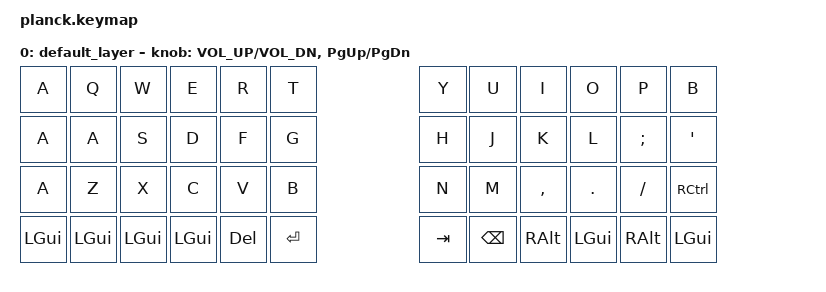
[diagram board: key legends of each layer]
#include <behaviors.dtsi>
#include <dt-bindings/zmk/keys.h>
#include <dt-bindings/zmk/bt.h>
#include <dt-bindings/zmk/ext_power.h>
#include <dt-bindings/zmk/rgb.h>


// / {
//     chosen {
//         zmk,physical-layout = &matrix_physical_layout;
//     };
// };
/ {

	keymap {
		compatible = "zmk,keymap";

		default_layer {
			// --------------------------------------------------------------------------------------------------------------------------------------------------------------------
			// |   ESC   |    Q    |    W    |    E    |    R    |    T    |                                          |    Y    |    U    |    I    |    O    |    P    |    \    |
			// |   TAB   |    A    |    S    |    D    |    F    |    G    |                                          |    H    |    J    |    K    |    L    |    ;    |    '    |
			// |  SHIFT  |    Z    |    X    |    C    |    V    |    B    | CTRL+A  | CTRL+C  |  |  CTRL+V |  CTRL+X |    N    |    M    |    ,    |    .    |    /    |  R CTRL |
			//                               |   GUI   |   DEL   | RETURN  |  SPACE  | ESCAPE  |  |  RETURN |  SPACE  |   TAB   |   BSPC  |  R ALT  |
			bindings = <
				&kp A  &kp Q    &kp W    &kp E     &kp R     &kp T       &kp Y     &kp U     &kp I     &kp O     &kp P    &kp B
				&kp A    &kp A    &kp S    &kp D     &kp F     &kp G      &kp H     &kp J     &kp K     &kp L     &kp SEMI &kp SQT
				&kp A &kp Z    &kp X    &kp C        &kp V        &kp B         &kp N     &kp M     &kp COMMA &kp DOT   &kp FSLH &kp RCTRL
				&kp LGUI  &kp LGUI	&kp LGUI  &kp LGUI  &kp DEL    &kp RET          &kp TAB   &kp BSPC  &kp RALT   &kp LGUI &kp RALT   &kp LGUI
			>;
			          sensor-bindings = <&inc_dec_kp C_VOL_UP C_VOL_DN &inc_dec_kp PG_UP PG_DN>;
		};
	};
};
